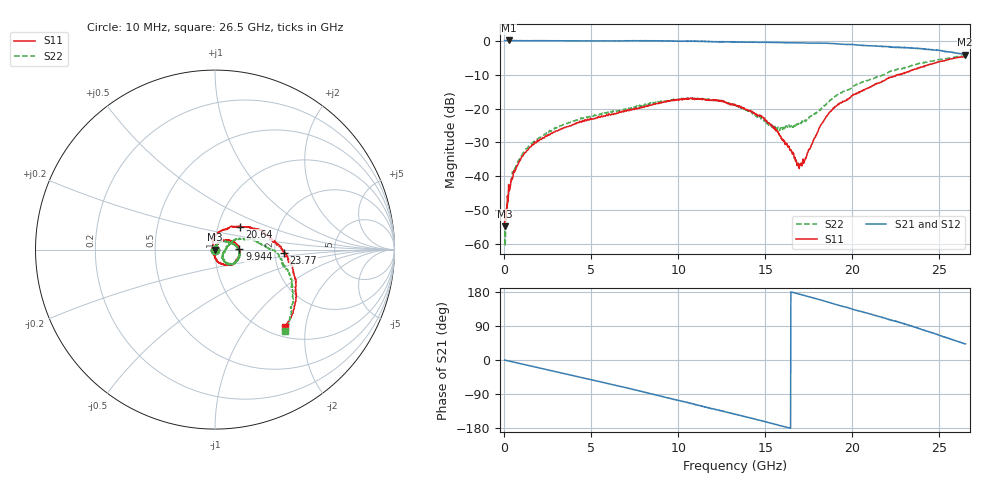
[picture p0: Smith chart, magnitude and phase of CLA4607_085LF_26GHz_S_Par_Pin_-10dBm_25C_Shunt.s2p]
!Agilent Technologies,N5242A,MY49421564,A.09.80.20
!Agilent N5242A: A.09.80.20
!Date: Tuesday, November 08, 2016 23:48:24
!Correction: S33(Full 2 Port(3,4))
!S43(Full 2 Port(3,4))
!S34(Full 2 Port(3,4))
!S44(Full 2 Port(3,4))
!S2P File: Measurements: S33, S43, S34, S44:
# Hz S  dB  R 50
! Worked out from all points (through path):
!   1601 points, 10 MHz to 26.5 GHz, reference 50 ohm
!   highest |S21| = 0.04 dB at 241.8 MHz (marker M1); lowest = -4.2 dB at 26.48 GHz (marker M2)
!   group delay of S21, straight-line fit = 32.7 ps
!   lowest |S11| = -54.7 dB at 10 MHz (marker M3), VSWR 1.00, Z = 49.8 - j0.0868 ohm
!   |S11| at or under -10 dB: start of sweep to 22.62 GHz; 22.64669 GHz to 22.68099 GHz (34.3 MHz wide, 0.151 % of centre); 22.7023 GHz to 22.74392 GHz (41.62 MHz wide, 0.183 % of centre)
!   |S22| runs from -60.5 to -4.5 dB; largest |S21 - S12| = 0.026
!   S11 on the Smith chart (normalised r, x): 10 MHz: 1.00, -0.00; 9.944 GHz: 1.32, +0.01; 20.64 GHz: 1.27, +0.34; 23.77 GHz: 2.25, -0.11; 26.5 GHz: 1.20, -1.55
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1e7  -54.73 -151.7  0.01 0.0  -0.00 -0.0  -53.57 -51.8
1.4245e8  -48.36 123.9  0.01 -1.5  -0.01 -1.5  -49.24 91.9
2.417875e8  -42.37 132.2  0.04 -2.6  -0.02 -2.6  -45.04 83.7
5.729125e8  -38.73 87.5  -0.00 -6.1  -0.01 -6.1  -38.14 82.7
1.317944e9  -32.29 72.8  -0.03 -13.9  -0.04 -13.9  -31.67 67.8
2.990125e9  -26.56 58.2  -0.06 -31.3  -0.08 -31.3  -25.79 52.5
4.430519e9  -24.02 48.0  -0.08 -46.3  -0.07 -46.3  -22.71 41.1
7.013294e9  -20.78 33.1  -0.07 -73.4  -0.08 -73.4  -20.08 20.8
8.851038e9  -18.57 17.3  -0.11 -93.6  -0.11 -93.5  -18.08 5.6
9.94375e9  -17.30 1.7  -0.15 -105.7  -0.17 -105.8  -17.40 -5.1
1.3255e10  -19.03 -50.6  -0.45 -143.6  -0.33 -143.0  -18.98 -48.5
1.545698e10  -25.73 -82.2  -0.58 -168.2  -0.48 -168.3  -25.00 -35.1
1.693049e10  -37.50 -169.8  -0.68 173.8  -0.62 173.8  -24.32 4.5
1.721194e10  -35.91 146.0  -0.70 170.5  -0.62 170.4  -23.76 8.1
1.767552e10  -30.47 114.6  -0.73 164.8  -0.70 164.6  -21.96 16.2
1.878479e10  -20.71 81.0  -0.86 150.2  -0.85 149.7  -17.31 24.3
2.063909e10  -14.48 42.3  -1.47 125.7  -1.44 125.8  -12.02 8.8
2.209604e10  -10.87 21.7  -1.78 106.5  -1.74 106.6  -9.18 -2.4
2.376822e10  -8.27 -3.1  -2.32 84.8  -2.47 83.9  -6.93 -21.2
2.547351e10  -5.62 -30.4  -3.25 57.7  -3.29 58.5  -5.24 -39.1
2.648344e10  -4.78 -47.4  -4.15 42.8  -4.24 42.6  -4.53 -49.4
2.65e10  -4.73 -47.7  -4.07 42.6  -4.23 42.6  -4.48 -49.5
